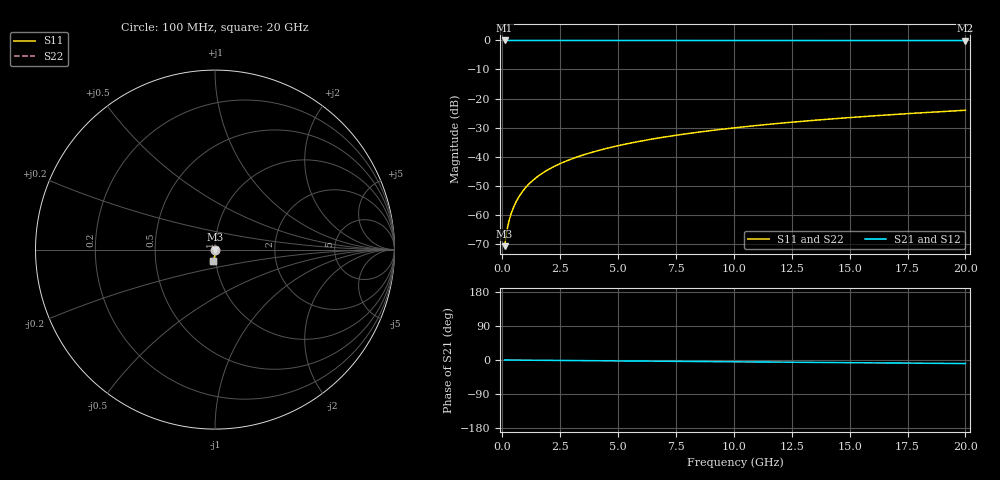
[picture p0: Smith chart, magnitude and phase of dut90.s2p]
! Touchstone file exported from HFSS 2026.1.0
!  File:  C:/ffzhzh/LocalFiles/Ansys_Project_Files/temp_train_TSV_90_1782959670_45308.aedt
!  Generated:  10:35:47 AM Jul  2, 2026
!  Design:  TSV
!  Project:  temp_train_TSV_90_1782959670_45308
! Variables:
!  h_bsmrdl = 2um
!  h_ox = 20um
!  h_rdl = 5um
!  h_sub = 92.57um
!  h_tmrdl = 5um
!  h_tsv = 92.57um
!  h_via = 3um
!  l_bsmrdl = 300um
!  l_sub = 422.96um
!  l_tmrdl = 200um
!  m_sub = 200um
!  pitch = 32.91um
!  r_tsv = 11.48um
!  s_tmrdl = 10um
!  w_bsmrdl = 18um
!  w_sub = 500um
!  w_tmrdl = 12um
!  x_tsv_center1 = 206um
!  x_tsv_center2 = 524um
!  x_tsv_center3 = 736um
!  x_tsv_center4 = 1054um
!  x_tsv_center5 = 1266um
!  x_tsv_center6 = 1584um
# GHz S MA R 50.000000
! Terminal data exported
! Port[1] = TSV1_1_T1
! Port[2] = TSV1_1_T2
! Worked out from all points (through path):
!   200 points, 100 MHz to 20 GHz, reference 50 ohm
!   highest |S21| = 0.00 dB at 100 MHz (marker M1); lowest = 0.0 dB at 20 GHz (marker M2)
!   group delay of S21, straight-line fit = 1.3 ps
!   lowest |S11| = -70.8 dB at 100 MHz (marker M3), VSWR 1.00, Z = 50 - j0.0258 ohm
!   |S11| at or under -10 dB: start of sweep to end of sweep
!   |S22| runs from -70.8 to -24.0 dB; largest |S21 - S12| = 4.2e-15
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0.1  0.0002872 -64.1  0.9999 -0.1  0.9999 -0.1  0.0002872 -64.1
! Gamma 0 0 0 0
! Port Impedance 50 0 50 0
0.2  0.0005408 -74.6  0.9999 -0.1  0.9999 -0.1  0.0005408 -74.6
0.3  0.0008108 -78.0  0.9998 -0.1  0.9998 -0.1  0.0008108 -78.0
0.4  0.001092 -79.5  0.9998 -0.2  0.9998 -0.2  0.001092 -79.5
0.5  0.001383 -80.5  0.9998 -0.2  0.9998 -0.2  0.001383 -80.5
0.7  0.001983 -81.8  0.9997 -0.3  0.9997 -0.3  0.001983 -81.8
0.8  0.00229 -82.4  0.9997 -0.4  0.9997 -0.4  0.00229 -82.4
1  0.002908 -83.3  0.9996 -0.5  0.9996 -0.5  0.002908 -83.3
1.2  0.003531 -84.1  0.9996 -0.6  0.9996 -0.6  0.003531 -84.1
1.4  0.004154 -84.8  0.9996 -0.7  0.9996 -0.7  0.004154 -84.8
1.7  0.005089 -85.6  0.9995 -0.8  0.9995 -0.8  0.005089 -85.6
2  0.006023 -86.3  0.9995 -1.0  0.9995 -1.0  0.006023 -86.3
2.7  0.008204 -87.4  0.9994 -1.3  0.9994 -1.3  0.008204 -87.4
3.5  0.0107 -88.3  0.9993 -1.7  0.9993 -1.7  0.0107 -88.3
4.2  0.01289 -88.9  0.9992 -2.0  0.9992 -2.0  0.01289 -88.9
5  0.01541 -89.6  0.9991 -2.4  0.9991 -2.4  0.01541 -89.6
6.8  0.02109 -90.8  0.9989 -3.2  0.9989 -3.2  0.02109 -90.8
8.3  0.02583 -91.7  0.9987 -3.9  0.9987 -3.9  0.02583 -91.7
10.1  0.03153 -92.8  0.9984 -4.8  0.9984 -4.8  0.03153 -92.8
13.4  0.04198 -94.6  0.9979 -6.3  0.9979 -6.3  0.04198 -94.6
16.7  0.0524 -96.3  0.9972 -7.8  0.9972 -7.8  0.0524 -96.3
20  0.0628 -98.0  0.9965 -9.4  0.9965 -9.4  0.0628 -98.0
